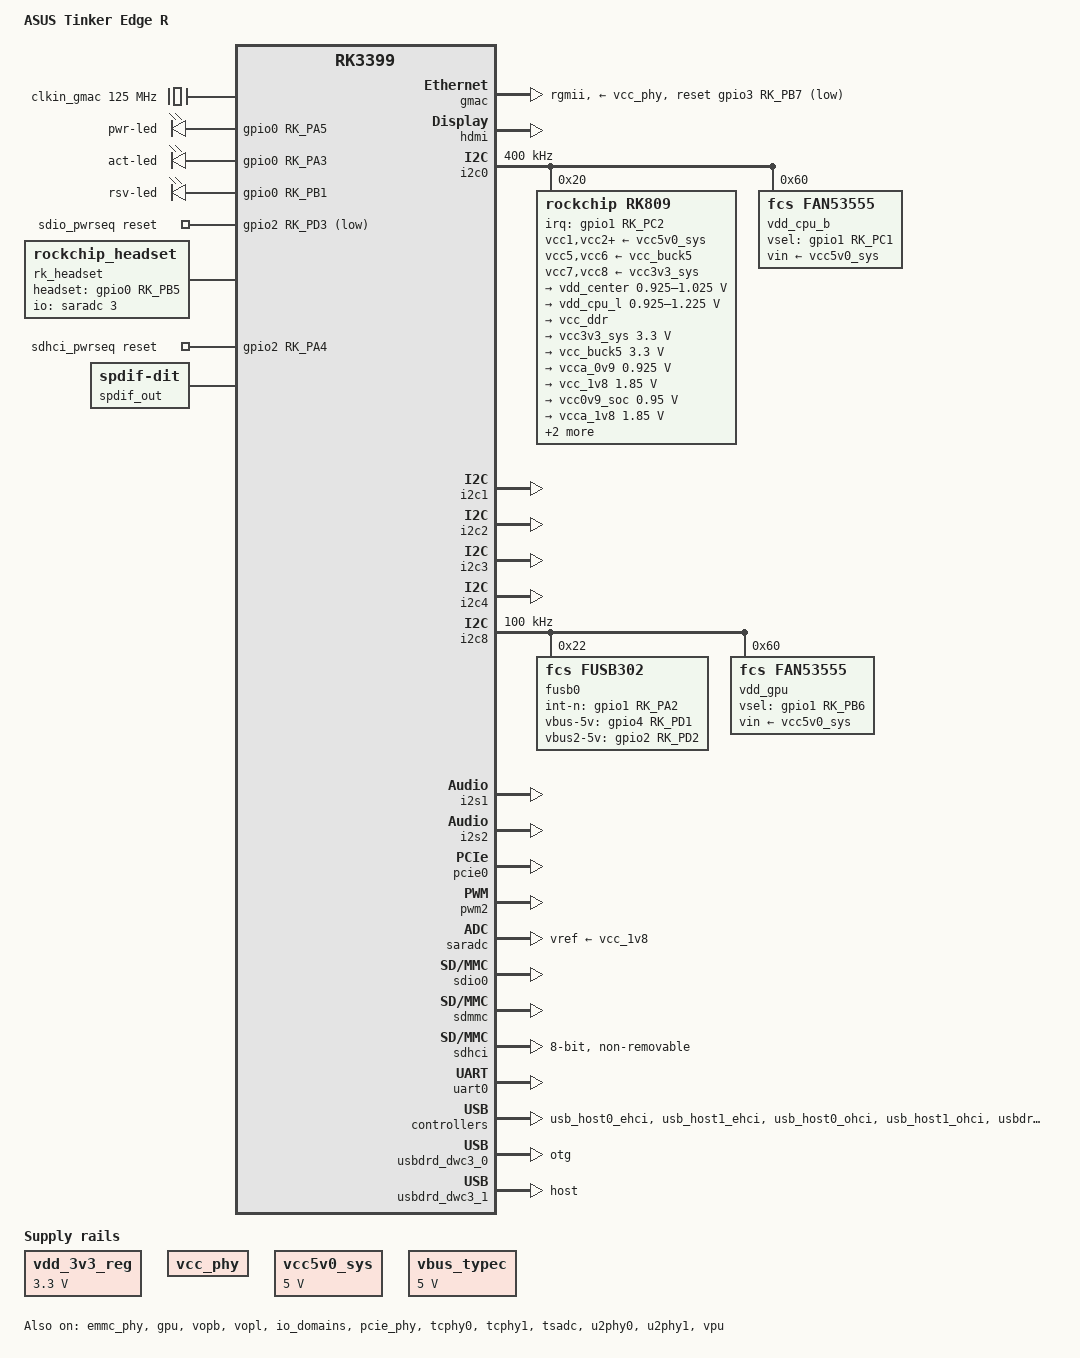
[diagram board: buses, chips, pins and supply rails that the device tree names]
// SPDX-License-Identifier: (GPL-2.0+ OR MIT)
/*
 * Copyright (c) 2019 Fuzhou Rockchip Electronics Co., Ltd
 * Copyright (c) 2019 Radxa Limited
 * Copyright (c) 2019 Amarula Solutions(India)
 * Copyright (c) 2024 ARCW <wmx129674@126.com> rk3399pro-tinker_edge_r
 */

/dts-v1/;
#include <dt-bindings/input/linux-event-codes.h>
#include <dt-bindings/pwm/pwm.h>
#include "rk3399pro.dtsi"
#include "rk3399-opp.dtsi"

/ {
	model = "ASUS Tinker Edge R";
	compatible = "ASUS,rk3399-tinker_edge_r", "rockchip,rk3399pro";

	chosen {
		stdout-path = "serial0:115200n8";
		// bootargs = "earlycon=uart8250,mmio32,0xff180000 swiotlb=1 coherent_pool=1m";
	};

	clkin_gmac: external-gmac-clock {
		compatible = "fixed-clock";
		clock-frequency = <125000000>;
		clock-output-names = "clkin_gmac";
		#clock-cells = <0>;
	};

	gpio-leds {
		compatible = "gpio-leds";

		pwr-led {
			gpios = <&gpio0 RK_PA5 GPIO_ACTIVE_HIGH>;
			linux,default-trigger = "default-on";
			retain-state-suspended = <1>;
		};

		act-led {
			gpios = <&gpio0 RK_PA3 GPIO_ACTIVE_HIGH>;
			linux,default-trigger="mmc0";
		};

		rsv-led {
			gpios = <&gpio0 RK_PB1 GPIO_ACTIVE_HIGH>;
			linux,default-trigger="none";
		};
	};

	sdio_pwrseq: sdio-pwrseq {
		compatible = "mmc-pwrseq-simple";
		clocks = <&rk809 1>;
		clock-names = "ext_clock";
		pinctrl-names = "default";
		pinctrl-0 = <&wifi_enable_h>;

		/*
		 * On the module itself this is one of these (depending
		 * on the actual card populated):
		 * - SDIO_RESET_L_WL_REG_ON
		 * - PDN (power down when low)
		 */
		reset-gpios = <&gpio2 RK_PD3 GPIO_ACTIVE_LOW>;
	};

	rk_headset {
		compatible = "rockchip_headset";
		headset_gpio = <&gpio0 RK_PB5 GPIO_ACTIVE_HIGH>;
		pinctrl-names = "default";
		pinctrl-0 = <&hp_det>;
		io-channels = <&saradc 3>;
	};

	sdhci_pwrseq: sdhci-pwrseq {
		compatible = "mmc-pwrseq-emmc";
		pinctrl-0 = <&sdhci_reset>;
		pinctrl-names = "default";
		reset-gpios = <&gpio2 RK_PA4 GPIO_ACTIVE_HIGH>;
	};

	display-subsystem{
		status = "okay";
	};

	vdd_3v3_reg: fixedregulator_3v3 {
		compatible = "regulator-fixed";
		regulator-name = "3v3";
		regulator-min-microvolt = <3300000>;
		regulator-max-microvolt = <3300000>;
		regulator-always-on;
	};

	vcc_phy: vcc-phy-regulator {
		compatible = "regulator-fixed";
		regulator-name = "vcc_phy";
		regulator-always-on;
		regulator-boot-on;
	};

	vcc5v0_sys: vccsys {
		compatible = "regulator-fixed";
		regulator-name = "vcc5v0_sys";
		regulator-always-on;
		regulator-boot-on;
		regulator-min-microvolt = <5000000>;
		regulator-max-microvolt = <5000000>;
	};

	vbus_typec: vbus-typec {
		compatible = "regulator-fixed";
		regulator-min-microvolt = <5000000>;
		regulator-max-microvolt = <5000000>;
		regulator-name = "vbus_typec";
	};

	backlight: backlight {
		status = "disabled";
		compatible = "pwm-backlight";
		pwms = <&pwm0 0 400000 0>;//f=2500 t=400,000ns
		brightness-levels = <
				  0   1   2   3    4    5    6   7
				 9    10  11  12  13  14  15  16
				 17  18  19  20  21  22  23  24
				 25  26  27  28  29  30  31  32
				 33  34  35  37  37  38  38  39
				 40  41  42  43  44  45  46  47
				 48  49  50  51  52  53  54  55
				 56  57  58  59  60  61  62  63
				 64  65  66  67  68  69  70  71
				 72  73  74  75  76  77  78  79
				 80  81  82  83  84  85  86  87
				 88  89  90  91  92  93  94  95
				 96  97  98  99 100 101 102 103
				104 105 106 107 108 109 110 111
				112 113 114 115 116 117 118 119
				120 121 122 123 124 125 126 127
				128 129 130 131 132 133 134 135
				136 137 138 139 140 141 142 143
				144 145 146 147 148 149 150 151
				152 153 154 155 156 157 158 159
				160 161 162 163 164 165 166 167
				168 169 170 171 172 173 174 175
				176 177 178 179 180 181 182 183
				184 185 186 187 188 189 190 191
				192 193 194 195 196 197 198 199
				200 201 202 203 204 205 206 207
				208 209 210 211 212 213 214 215
				216 217 218 219 220 221 222 223
				224 225 226 227 228 229 230 231
				232 233 234 235 236 237 238 239
				240 241 242 243 244 245 246 247
				248 249 250 251 252 253 254 255
		>;
		default-brightness-level = <200>;
		minimal-brightness-level = <26>;
		soc_enablekl-gpios = <&gpio1 RK_PB0 GPIO_ACTIVE_HIGH>;
		enable_delay = <15>;
		disable_delay = <5>;
		pinctrl-names = "default";
		pinctrl-0 = <&pinctrl_lvds_bl_en>;
	};

	rk809-sound {
		compatible = "simple-audio-card";
		simple-audio-card,format = "i2s";
		simple-audio-card,name = "rockchip,rk809";
		simple-audio-card,mclk-fs = <256>;
		simple-audio-card,widgets =
			"Microphone", "Mic Jack",
			"Headphone", "Headphone Jack";
		simple-audio-card,routing =
			"Mic Jack", "MICBIAS1",
			"IN1P", "Mic Jack",
			"Headphone Jack", "HPOL",
			"Headphone Jack", "HPOR";
		simple-audio-card,cpu {
			sound-dai = <&i2s1>;
		};
		simple-audio-card,codec {
			sound-dai = <&rk809_codec>;
		};
	};

	spdif-sound {
		status = "okay";
		compatible = "simple-audio-card";
		simple-audio-card,name = "rockchip,spdif";
		simple-audio-card,cpu {
			sound-dai = <&spdif>;
		};
		simple-audio-card,codec {
			sound-dai = <&spdif_out>;
		};
	};

	spdif_out: spdif-out {
		status = "okay";
		compatible = "linux,spdif-dit";
		#sound-dai-cells = <0>;
	};
	
	hdmi_dp_sound: hdmi-dp-sound {
		status = "okay";
		compatible = "rockchip,rk3399-hdmi-dp";
		rockchip,cpu = <&i2s2>;
		rockchip,codec = <&hdmi>, <&cdn_dp>;
	};

	route_hdmi: route-hdmi {
		status = "okay";
		logo,mode = "center";
		charge_logo,mode = "center";
		connect = <&vopb_out_hdmi>;
	};
};

&cpu_l0 {
	cpu-supply = <&vdd_cpu_l>;
};

&cpu_l1 {
	cpu-supply = <&vdd_cpu_l>;
};

&cpu_l2 {
	cpu-supply = <&vdd_cpu_l>;
};

&cpu_l3 {
	cpu-supply = <&vdd_cpu_l>;
};

&cpu_b0 {
	cpu-supply = <&vdd_cpu_b>;
};

&cpu_b1 {
	cpu-supply = <&vdd_cpu_b>;
};

&emmc_phy {
	status = "okay";
};

&gmac {
	assigned-clocks = <&cru SCLK_RMII_SRC>;
	assigned-clock-parents = <&clkin_gmac>;
	clock_in_out = "input";
	phy-supply = <&vcc_phy>;
	phy-mode = "rgmii";
	snps,reset-gpio = <&gpio3 RK_PB7 GPIO_ACTIVE_LOW>;
	snps,reset-active-low;
	snps,reset-delays-us = <0 16000 72000>;
	wolirq-gpio = <&gpio3 16 GPIO_ACTIVE_LOW>;
	pinctrl-names = "default";
	pinctrl-0 = <&rgmii_pins>;
	tx_delay = <0x23>;
	rx_delay = <0x22>;
	wakeup-enable = "0";
	status = "okay";
};

&gpu {
	mali-supply = <&vdd_gpu>;
	status = "okay";
};

&hdmi {
	status = "okay";
	ddc-i2c-bus = <&i2c3>;
	pinctrl-names = "default";
	pinctrl-0 = <&hdmi_cec>;
	#sound-dai-cells = <0>;	// must exist
	rockchip,phy-table =
		<74250000  0x8009 0x0004 0x0272>,
		<165000000 0x802b 0x0004 0x0209>,
		<297000000 0x8039 0x0005 0x028d>,
		<594000000 0x8039 0x0000 0x019d>,
		<000000000 0x0000 0x0000 0x0000>;
};

&hdmi_in_vopl {
	status = "disabled";
};

&vopb {	
	status = "okay";
	// assigned-clocks = <&cru DCLK_VOP0_DIV>;
	// assigned-clock-parents = <&cru PLL_VPLL>;
};

&vopb_mmu {
	status = "okay";
};

&vopl {
	status = "okay";
	// assigned-clocks = <&cru DCLK_VOP1_DIV>;
	// assigned-clock-parents = <&cru PLL_CPLL>;
};

&vopl_mmu {
	status = "okay";
};

&i2c0 {
	status = "okay";
	i2c-scl-rising-time-ns = <180>;
	i2c-scl-falling-time-ns = <30>;
	clock-frequency = <400000>;

	rk809: pmic@20 {
		compatible = "rockchip,rk809";
		reg = <0x20>;
		interrupt-parent = <&gpio1>;
		interrupts = <RK_PC2 IRQ_TYPE_LEVEL_LOW>;
		pinctrl-names = "default", "pmic-sleep",
				"pmic-power-off", "pmic-reset";
		pinctrl-0 = <&pmic_int_l>;
		pinctrl-1 = <&soc_slppin_slp>, <&rk809_slppin_slp>;
		pinctrl-2 = <&soc_slppin_gpio>, <&rk809_slppin_pwrdn>;
		pinctrl-3 = <&soc_slppin_gpio>, <&rk809_slppin_null>;
		rockchip,system-power-controller;
		pmic-reset-func = <0>;
		wakeup-source;
		#clock-cells = <1>;
		clock-output-names = "rk808-clkout1", "rk808-clkout2";

		vcc1-supply = <&vcc5v0_sys>;
		vcc2-supply = <&vcc5v0_sys>;
		vcc3-supply = <&vcc5v0_sys>;
		vcc4-supply = <&vcc5v0_sys>;
		vcc5-supply = <&vcc_buck5>;
		vcc6-supply = <&vcc_buck5>;
		vcc7-supply = <&vcc3v3_sys>;
		vcc8-supply = <&vcc3v3_sys>;
		vcc9-supply = <&vcc5v0_sys>;

		pwrkey {
			status = "okay";
		};

		rtc {
			status = "okay";
		};

		pinctrl_rk8xx: pinctrl_rk8xx {
			gpio-controller;
			#gpio-cells = <2>;

			rk809_slppin_null: rk809_slppin_null {
				pins = "gpio_slp";
				function = "pin_fun0";
			};

			rk809_slppin_slp: rk809_slppin_slp {
				pins = "gpio_slp";
				function = "pin_fun1";
			};

			rk809_slppin_pwrdn: rk809_slppin_pwrdn {
				pins = "gpio_slp";
				function = "pin_fun2";
			};

			rk809_slppin_rst: rk809_slppin_rst {
				pins = "gpio_slp";
				function = "pin_fun3";
			};
		};

		regulators {
			vdd_center: DCDC_REG1 {
				regulator-name = "vdd_center";
				regulator-always-on;
				regulator-boot-on;
				regulator-min-microvolt = <925000>;
				regulator-max-microvolt = <1025000>;
				regulator-initial-mode = <0x2>;
				regulator-state-mem {
					regulator-off-in-suspend;
					regulator-suspend-microvolt = <925000>;
				};
			};

			vdd_cpu_l: DCDC_REG2 {
				regulator-name = "vdd_cpu_l";
				regulator-always-on;
				regulator-boot-on;
				regulator-min-microvolt = <925000>;
				regulator-max-microvolt = <1225000>;
				regulator-ramp-delay = <6001>;
				regulator-initial-mode = <0x2>;
				regulator-state-mem {
					regulator-off-in-suspend;
				};
			};

			vcc_ddr: DCDC_REG3 {
				regulator-name = "vcc_ddr";
				regulator-always-on;
				regulator-boot-on;
				regulator-initial-mode = <0x2>;
				regulator-state-mem {
					regulator-on-in-suspend;
				};
			};

			vcc3v3_sys: DCDC_REG4 {
				regulator-always-on;
				regulator-boot-on;
				regulator-min-microvolt = <3300000>;
				regulator-max-microvolt = <3300000>;
				regulator-initial-mode = <0x2>;
				regulator-name = "vcc3v3_sys";
				regulator-state-mem {
					regulator-on-in-suspend;
					regulator-suspend-microvolt = <3300000>;
				};
			};

			vcc_buck5: DCDC_REG5 {
				regulator-always-on;
				regulator-boot-on;
				regulator-min-microvolt = <3300000>;
				regulator-max-microvolt = <3300000>;
				regulator-name = "vcc_buck5";
				regulator-state-mem {
					regulator-on-in-suspend;
					regulator-suspend-microvolt = <3300000>;
				};
			};

			vcca_0v9: LDO_REG1 {
				regulator-always-on;
				regulator-boot-on;
				regulator-min-microvolt = <925000>;
				regulator-max-microvolt = <925000>;
				regulator-name = "vcca_0v9";
				regulator-state-mem {
					regulator-on-in-suspend;
					regulator-suspend-microvolt = <925000>;
				};
			};

			vcc_1v8: LDO_REG2 {
				regulator-always-on;
				regulator-boot-on;
				regulator-min-microvolt = <1850000>;
				regulator-max-microvolt = <1850000>;

				regulator-name = "vcc_1v8";
				regulator-state-mem {
					regulator-on-in-suspend;
					regulator-suspend-microvolt = <1850000>;
				};
			};

			vcc0v9_soc: LDO_REG3 {
				regulator-always-on;
				regulator-boot-on;
				regulator-min-microvolt = <950000>;
				regulator-max-microvolt = <950000>;

				regulator-name = "vcc0v9_soc";
				regulator-state-mem {
					regulator-on-in-suspend;
					regulator-suspend-microvolt = <950000>;
				};
			};

			vcca_1v8: LDO_REG4 {
				regulator-always-on;
				regulator-boot-on;
				regulator-min-microvolt = <1850000>;
				regulator-max-microvolt = <1850000>;

				regulator-name = "vcca_1v8";
				regulator-state-mem {
					regulator-on-in-suspend;
					regulator-suspend-microvolt = <1850000>;
				};
			};

			vdd1v5_dvp: LDO_REG5 {
				regulator-always-on;
				regulator-boot-on;
				regulator-min-microvolt = <1850000>;
				regulator-max-microvolt = <1850000>;

				regulator-name = "vdd1v5_dvp";
				regulator-state-mem {
					regulator-off-in-suspend;
				};
			};

			vcc_1v5: LDO_REG6 {
				regulator-always-on;
				regulator-boot-on;
				regulator-min-microvolt = <1550000>;
				regulator-max-microvolt = <1550000>;

				regulator-name = "vcc_1v5";
				regulator-state-mem {
					regulator-off-in-suspend;
				};
			};

			vcc_3v0: LDO_REG7 {
				regulator-name = "vcc_3v0";
				regulator-always-on;
				regulator-boot-on;
				regulator-min-microvolt = <3075000>;
				regulator-max-microvolt = <3075000>;

				regulator-state-mem {
					regulator-off-in-suspend;
				};
			};

			vccio_sd: LDO_REG8 {
				regulator-always-on;
				regulator-boot-on;
				regulator-min-microvolt = <1850000>;
				regulator-max-microvolt = <3375000>;

				regulator-name = "vccio_sd";
				regulator-state-mem {
					regulator-off-in-suspend;
				};
			};

			vcc_sd: LDO_REG9 {
				regulator-always-on;
				regulator-boot-on;
				regulator-min-microvolt = <3375000>;
				regulator-max-microvolt = <3375000>;

				regulator-name = "vcc_sd";
				regulator-state-mem {
					regulator-off-in-suspend;
				};
			};

			vcc5v0_usb: SWITCH_REG1 {
				regulator-min-microvolt = <5000000>;
				regulator-max-microvolt = <5000000>;

				regulator-name = "vcc5v0_usb";
				regulator-state-mem {
					regulator-on-in-suspend;
					regulator-suspend-microvolt = <5000000>;
				};
			};

			vccio_3v3: SWITCH_REG2 {
				regulator-always-on;
				regulator-boot-on;
				regulator-min-microvolt = <3300000>;
				regulator-max-microvolt = <3300000>;

				regulator-name = "vccio_3v3";
				regulator-state-mem {
					regulator-on-in-suspend;
					regulator-suspend-microvolt = <3300000>;
				};
			};
		};

		rk809_codec: codec {
			#sound-dai-cells = <0>;
			compatible = "rockchip,rk809-codec", "rockchip,rk817-codec";
			clocks = <&cru SCLK_I2S_8CH_OUT>;
			clock-names = "mclk";
			pinctrl-names = "default";
			pinctrl-0 = <&i2s_8ch_mclk>;
			hp-volume = <20>;
			spk-volume = <3>;
			status = "okay";
		};
	};

	vdd_cpu_b: fan53555@60 {
		compatible = "fcs,fan53555";
		reg = <0x60>;
		vin-supply = <&vcc5v0_sys>;
		regulator-compatible = "fan53555-reg";
		pinctrl-0 = <&vsel1_gpio>;
		vsel-gpios = <&gpio1 RK_PC1 GPIO_ACTIVE_HIGH>;
		regulator-name = "vdd_cpu_b";
		regulator-min-microvolt = <925000>;
		regulator-max-microvolt = <1275000>;
		regulator-ramp-delay = <1000>;
		fcs,suspend-voltage-selector = <1>;
		regulator-always-on;
		regulator-boot-on;
		regulator-initial-state = <3>;
		regulator-state-mem {
			regulator-off-in-suspend;
		};
	};

	bq25700: bq25700@6b {
		compatible = "ti,bq25703";
		reg = <0x6b>;
		extcon = <&fusb0>;
		interrupt-parent = <&gpio1>;
		interrupts = <RK_PA1 IRQ_TYPE_LEVEL_LOW>;
		pinctrl-names = "default";
		pinctrl-0 = <&charger_ok_int>;
		ti,charge-current = <1500000>;
		ti,max-charge-voltage = <8704000>;
		ti,max-input-voltage = <20000000>;
		ti,max-input-current = <6000000>;
		ti,input-current-sdp = <500000>;
		ti,input-current-dcp = <2000000>;
		ti,input-current-cdp = <2000000>;
		ti,input-current-dc = <2000000>;
		ti,minimum-sys-voltage = <6700000>;
		ti,otg-voltage = <5000000>;
		ti,otg-current = <500000>;
		ti,input-current = <500000>;
		pd-charge-only = <0>;
		status = "disabled";
	};
};

&spdif {
	status = "disabled";
	pinctrl-0 = <&spdif_bus>;
	i2c-scl-rising-time-ns = <450>;
	i2c-scl-falling-time-ns = <15>;
};

&i2c1 {
	status = "okay";
	i2c-scl-rising-time-ns = <140>;
	i2c-scl-falling-time-ns = <30>;
	status = "okay";
};

&i2c2 {
	status = "okay";
	i2c-scl-rising-time-ns = <140>;
	i2c-scl-falling-time-ns = <30>;
};

&i2c3 {
	i2c-scl-rising-time-ns = <450>;
	i2c-scl-falling-time-ns = <15>;
	status = "okay";
};

&i2c4 {
	i2c-scl-rising-time-ns = <345>;
	i2c-scl-falling-time-ns = <11>;
	status = "okay";
};

&i2c8 {
	status = "okay";
	i2c-scl-rising-time-ns = <345>;
	i2c-scl-falling-time-ns = <11>;
	clock-frequency = <100000>;

	fusb0: typec-portc@22 {
		compatible = "fcs,fusb302";
		reg = <0x22>;
		pinctrl-names = "default";
		pinctrl-0 = <&fusb0_int>;
		int-n-gpios = <&gpio1 RK_PA2 GPIO_ACTIVE_HIGH>;
		vbus-5v-gpios = <&gpio4 RK_PD1 GPIO_ACTIVE_HIGH>;
		vbus2-5v-gpios = <&gpio2 RK_PD2 GPIO_ACTIVE_HIGH>;
		status = "okay";
	};

	vdd_gpu: fan53555@60 {
		compatible = "fcs,fan53555";
		reg = <0x60>;
		vin-supply = <&vcc5v0_sys>;
		regulator-compatible = "fan53555-reg";
		pinctrl-0 = <&vsel2_gpio>;
		vsel-gpios = <&gpio1 RK_PB6 GPIO_ACTIVE_HIGH>;
		regulator-name = "vdd_gpu";
		regulator-min-microvolt = <925000>;
		regulator-max-microvolt = <1225000>;
		regulator-ramp-delay = <1000>;
		fcs,suspend-voltage-selector = <1>;
		regulator-always-on;
		regulator-boot-on;
		regulator-initial-state = <3>;
		regulator-state-mem {
			regulator-off-in-suspend;
		};
	};

};

&i2s0 {
	i2s_8ch_mclk: i2s-8ch-mclk {
		rockchip,pins = <4 RK_PA0 1 &pcfg_pull_none>;
	};
};

&i2s1 {
	status = "okay";
};

&i2s2 {
	status = "okay";
};

&io_domains {
	status = "okay";
	bt656-supply = <&vcca_1v8>;
	audio-supply = <&vcca_1v8>;
	sdmmc-supply = <&vccio_sd>;
	gpio1830-supply = <&vcc_3v0>;
};

&isp0_mmu {
	status = "okay";
};

&isp1_mmu {
	status = "okay";
};

&pcie_phy {
	status = "okay";
};

&pcie0 {
	status = "okay";
};

&pmu_io_domains {
	status = "okay";
	pmu1830-supply = <&vcc_1v8>;
};

&pwm2 {
	status = "okay";
};

// &isp0 {
// 	status = "okay";

// 	port {
// 		#address-cells = <1>;
// 		#size-cells = <0>;

// 		isp0_mipi_in: endpoint@0 {
// 			reg = <0>;
// 			remote-endpoint = <&dphy_rx0_out>;
// 		};
// 	};
// };

// &isp1 {
// 	status = "okay";

// 	port {
// 		#address-cells = <1>;
// 		#size-cells = <0>;

// 		isp1_mipi_in: endpoint@0 {
// 			reg = <0>;
// 			remote-endpoint = <&dphy_tx1rx1_out>;
// 		};
// 	};
// };

&saradc {
	status = "okay";
	vref-supply = <&vcc_1v8>;
};

&sdio0 {
	status = "okay";
};

&sdmmc {
	status = "okay";
	supports-emmc;
	sd-uhs-sdr12;
	sd-uhs-sdr25;
	sd-uhs-sdr50;
	sd-uhs-sdr104;
};

&sdhci {
	mmc-pwrseq = <&sdhci_pwrseq>;
	bus-width = <8>;
	mmc-hs200-1_8v;
	non-removable;
	status = "okay";
};

&spi1 {
	status = "disable";
	max-freq = <48000000>; /* spi internal clk, don't modify */
	spi_dev@0 {
		compatible = "rockchip,spidev";
		reg = <0>;
		spi-max-frequency = <48000000>;
	};
};

&spi5 {
	status = "disable";
	max-freq = <48000000>;   //spi internal clk, don't modify
	spi_dev@0 {
		compatible = "rockchip,spidev";
		reg = <0>;   //chip select  0:cs0  1:cs1
		id = <0>;
		spi-max-frequency = <48000000>;   //spi output clock
	};
};

&tcphy0 {
	extcon = <&fusb0>;
	status = "okay";
};

&tcphy1 {
	status = "okay";
};

&tsadc {
	/* tshut mode 0:CRU 1:GPIO */
	rockchip,hw-tshut-mode = <1>;
	/* tshut polarity 0:LOW 1:HIGH */
	rockchip,hw-tshut-polarity = <1>;
	status = "okay";
};

&u2phy0 {
	status = "okay";
	extcon = <&fusb0>;

	u2phy0_otg: otg-port {
		status = "okay";
	};

	u2phy0_host: host-port {
		phy-supply = <&vcc5v0_usb>;
		status = "okay";
	};
};

&u2phy1 {
	status = "okay";

	u2phy1_otg: otg-port {
		status = "okay";
	};

	u2phy1_host: host-port {
		phy-supply = <&vcc5v0_usb>;
		status = "okay";
	};
};

&uart0 {
	status = "okay";
};

// &uart4 {
// 	status = "disable";
// };

&usb_host0_ehci {
	status = "okay";
};

&usb_host1_ehci {
	status = "okay";
};
&usb_host0_ohci {
	status = "okay";
};

&usb_host1_ohci {
	status = "okay";
};

&usbdrd3_0 {
	extcon = <&fusb0>;
	status = "okay";
};

&usbdrd3_1 {
	status = "okay";
};

&usbdrd_dwc3_0 {
    dr_mode = "otg";
	status = "okay";
};

&usbdrd_dwc3_1 {
	status = "okay";
    dr_mode = "host";
};

&vpu {
	status = "okay";
	/* 0 means ion, 1 means drm */
	//allocator = <0>;
};

&pinctrl {
	pinctrl-names = "default";
	pinctrl-0 = <&npu_ref_clk &gpio_init>;

	mipi_to_lvds {
		/*pinctrl_lvds_hdmi_sel: lvds_hdmi_sel {
			rockchip,pins = <0 5 0  &pcfg_pull_none>;
		};*/

		pinctrl_sn65dsi84_irq: sn65dsi84_irq{
			rockchip,pins = <1 RK_PB2 0  &pcfg_pull_none>;
		};

		pinctrl_lvds_bl_en: lvds_bl_en {
			rockchip,pins = <1 RK_PB0 0  &pcfg_pull_none>;
		};

		pinctrl_sn65dsi84_en: sn65dsi84_en {
			rockchip,pins = <1 RK_PA7 0   &pcfg_pull_none>;
		};

		pinctrl_lvds_vdd_en: lvds_vdd_en {
			rockchip,pins = <1 RK_PB1 0  &pcfg_pull_none>;
		};

		pinctrl_pwr_source: pwr_source {
			rockchip,pins = <0 RK_PA6 0  &pcfg_pull_none>;
		};
	 };

	bq2570 {
		charger_ok_int: charger-ok-int {
			rockchip,pins = <1 RK_PA1 0 &pcfg_pull_up>;
		};
	};

	fusb30x {
		fusb0_int: fusb0-int {
			rockchip,pins = <1 RK_PA2 0 &pcfg_pull_up>;
		};
	};

	headphone {
		hp_det: hp-det {
			rockchip,pins = <0 RK_PB5 0 &pcfg_pull_up>;
		};
	};

	lcd_rst {
		lcd_rst_gpio: lcd-rst-gpio {
			rockchip,pins = <3 RK_PA4 0 &pcfg_pull_none>;
		};
	};

	gpio_init_config {
                gpio_init: gpio_init {
                     rockchip,pins =
                             <1 9 0 &pcfg_pull_none>,
                             <1 10 0 &pcfg_pull_none>,
                             <1 7 0 &pcfg_pull_none>,
                             <1 8 0 &pcfg_pull_none>;
		};
	};

	npu_clk {
		npu_ref_clk: npu-ref-clk {
		     rockchip,pins =
			     <0 RK_PA2 1 &pcfg_pull_none>;
	     };
	};

	pmic {
		pmic_int_l: pmic-int-l {
			rockchip,pins =
				<1 RK_PC2 0 &pcfg_pull_up>;
		};
		vsel1_gpio: vsel1-gpio {
			rockchip,pins =
				<1 RK_PC1 0 &pcfg_pull_down>;
		};
		vsel2_gpio: vsel2-gpio {
			rockchip,pins =
				<1 RK_PB6 0 &pcfg_pull_down>;
		};

		soc_slppin_gpio: soc-slppin-gpio {
			rockchip,pins =
				<1 RK_PA5 0 &pcfg_output_low>;
		};

		soc_slppin_slp: soc-slppin-slp {
			rockchip,pins =
				<1 RK_PA5 1 &pcfg_pull_down>;
		};

		soc_slppin_rst: soc-slppin-rst {
			rockchip,pins =
				<1 RK_PA5 2 &pcfg_pull_none>;
		};
	};

	sdhci-pwrseq {
		sdhci_reset: sdhci-reset {
			rockchip,pins = <2 4 0 &pcfg_pull_none>;
		};
	};

	sdio-pwrseq {
		wifi_enable_h: wifi-enable-h {
			rockchip,pins =
				<2 RK_PD3 0 &pcfg_pull_none>;
		};
	};

	sdmmc {
		sdmmc_bus1: sdmmc-bus1 {
			rockchip,pins =
				<4 RK_PB0 1 &pcfg_pull_up>;
		};

		sdmmc_bus4: sdmmc-bus4 {
			rockchip,pins =
				<4 RK_PB0 1 &pcfg_pull_up>,
				<4 RK_PB1 1 &pcfg_pull_up>,
				<4 RK_PB2 1 &pcfg_pull_up>,
				<4 RK_PB3 1 &pcfg_pull_up>;
		};

		sdmmc_clk: sdmmc-clk {
			rockchip,pins =
				<4 RK_PB4 1 &pcfg_pull_none>;
		};

		sdmmc_cmd: sdmmc-cmd {
			rockchip,pins =
				<4 RK_PB5 1 &pcfg_pull_up>;
		};
	};

	tp_irq {
		tp_irq_gpio: tp-irq-gpio {
			rockchip,pins =
				<3 RK_PB0 0 &pcfg_pull_up>;
		};
	};

	// wireless-bluetooth {
	// 	bt_irq_gpio: bt-irq-gpio {
	// 		rockchip,pins =
	// 			<0 RK_PA5 0 &pcfg_pull_down>;
	// 	};

		//uart0_gpios: uart0-gpios {
		//	rockchip,pins =
		//		<2 RK_PC3 0 &pcfg_pull_none>;
		//};
	// };

	// isp {
	// 	test_clkout2: cif-test_clkout2 {
	// 		rockchip,pins =
	// 			/* test_clkout2 */
	// 			<0 8 3 &pcfg_pull_none>;
	// 	};
	// };
};

